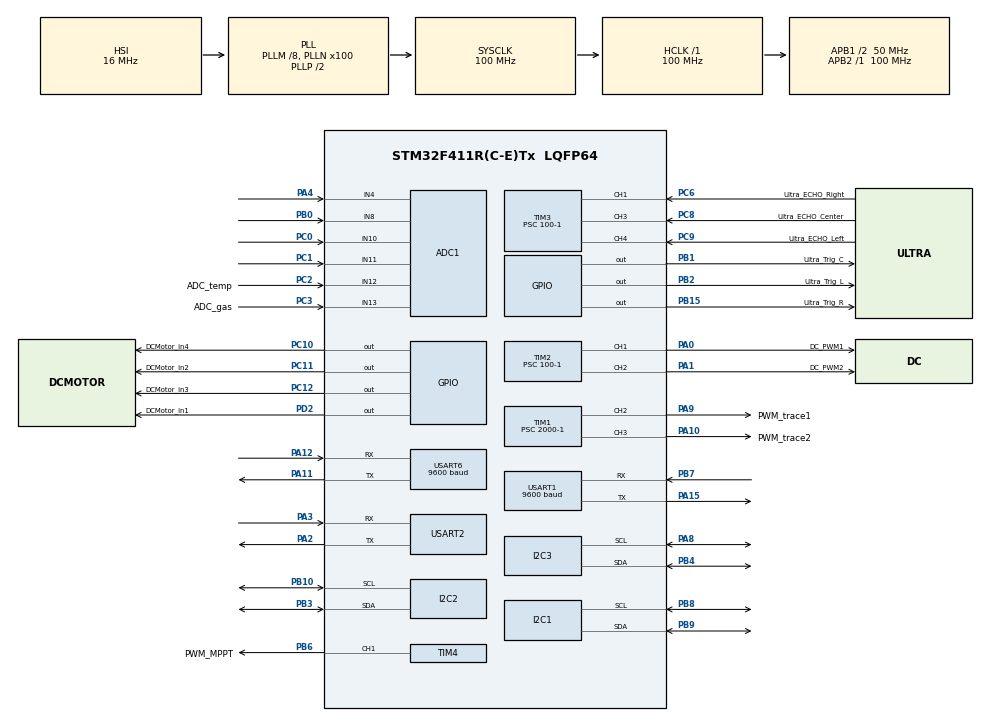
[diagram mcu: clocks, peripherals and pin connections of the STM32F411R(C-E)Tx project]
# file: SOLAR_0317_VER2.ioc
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ADC1.Channel-0\#ChannelRegularConversion=ADC_CHANNEL_12
ADC1.Channel-1\#ChannelRegularConversion=ADC_CHANNEL_13
ADC1.Channel-2\#ChannelRegularConversion=ADC_CHANNEL_4
ADC1.Channel-3\#ChannelRegularConversion=ADC_CHANNEL_8
ADC1.Channel-4\#ChannelRegularConversion=ADC_CHANNEL_11
ADC1.Channel-5\#ChannelRegularConversion=ADC_CHANNEL_10
ADC1.ContinuousConvMode=ENABLE
ADC1.DMAContinuousRequests=ENABLE
ADC1.DiscontinuousConvMode=DISABLE
ADC1.NbrOfConversion=6
ADC1.NbrOfConversionFlag=1
ADC1.Rank-0\#ChannelRegularConversion=1
ADC1.Rank-1\#ChannelRegularConversion=2
ADC1.Rank-2\#ChannelRegularConversion=3
ADC1.Rank-3\#ChannelRegularConversion=4
ADC1.Rank-4\#ChannelRegularConversion=5
ADC1.Rank-5\#ChannelRegularConversion=6
ADC1.SamplingTime-0\#ChannelRegularConversion=ADC_SAMPLETIME_144CYCLES
ADC1.SamplingTime-1\#ChannelRegularConversion=ADC_SAMPLETIME_144CYCLES
ADC1.SamplingTime-2\#ChannelRegularConversion=ADC_SAMPLETIME_144CYCLES
ADC1.SamplingTime-3\#ChannelRegularConversion=ADC_SAMPLETIME_144CYCLES
ADC1.SamplingTime-4\#ChannelRegularConversion=ADC_SAMPLETIME_144CYCLES
ADC1.SamplingTime-5\#ChannelRegularConversion=ADC_SAMPLETIME_144CYCLES
ADC1.master=1
Dma.ADC1.0.Direction=DMA_PERIPH_TO_MEMORY
Dma.ADC1.0.FIFOMode=DMA_FIFOMODE_DISABLE
Dma.ADC1.0.Instance=DMA2_Stream0
Dma.ADC1.0.MemDataAlignment=DMA_MDATAALIGN_HALFWORD
Dma.ADC1.0.MemInc=DMA_MINC_ENABLE
Dma.ADC1.0.Mode=DMA_CIRCULAR
Dma.ADC1.0.PeriphDataAlignment=DMA_PDATAALIGN_HALFWORD
Dma.ADC1.0.PeriphInc=DMA_PINC_DISABLE
Dma.ADC1.0.Priority=DMA_PRIORITY_LOW
Dma.I2C1_RX.4.Direction=DMA_PERIPH_TO_MEMORY
Dma.I2C1_RX.4.FIFOMode=DMA_FIFOMODE_DISABLE
Dma.I2C1_RX.4.Instance=DMA1_Stream0
Dma.I2C1_RX.4.MemDataAlignment=DMA_MDATAALIGN_BYTE
Dma.I2C1_RX.4.MemInc=DMA_MINC_ENABLE
Dma.I2C1_RX.4.Mode=DMA_NORMAL
Dma.I2C1_RX.4.PeriphDataAlignment=DMA_PDATAALIGN_BYTE
Dma.I2C1_RX.4.PeriphInc=DMA_PINC_DISABLE
Dma.I2C1_RX.4.Priority=DMA_PRIORITY_LOW
Dma.I2C2_RX.2.Direction=DMA_PERIPH_TO_MEMORY
Dma.I2C2_RX.2.FIFOMode=DMA_FIFOMODE_DISABLE
Dma.I2C2_RX.2.Instance=DMA1_Stream2
Dma.I2C2_RX.2.MemDataAlignment=DMA_MDATAALIGN_BYTE
Dma.I2C2_RX.2.MemInc=DMA_MINC_ENABLE
Dma.I2C2_RX.2.Mode=DMA_NORMAL
Dma.I2C2_RX.2.PeriphDataAlignment=DMA_PDATAALIGN_BYTE
Dma.I2C2_RX.2.PeriphInc=DMA_PINC_DISABLE
Dma.I2C2_RX.2.Priority=DMA_PRIORITY_LOW
Dma.I2C3_RX.3.Direction=DMA_PERIPH_TO_MEMORY
Dma.I2C3_RX.3.FIFOMode=DMA_FIFOMODE_DISABLE
Dma.I2C3_RX.3.Instance=DMA1_Stream1
Dma.I2C3_RX.3.MemDataAlignment=DMA_MDATAALIGN_BYTE
Dma.I2C3_RX.3.MemInc=DMA_MINC_ENABLE
Dma.I2C3_RX.3.Mode=DMA_NORMAL
Dma.I2C3_RX.3.PeriphDataAlignment=DMA_PDATAALIGN_BYTE
Dma.I2C3_RX.3.PeriphInc=DMA_PINC_DISABLE
Dma.I2C3_RX.3.Priority=DMA_PRIORITY_LOW
Dma.Request0=ADC1
Dma.Request1=USART6_TX
Dma.Request2=I2C2_RX
Dma.Request3=I2C3_RX
Dma.Request4=I2C1_RX
Dma.USART6_TX.1.Direction=DMA_MEMORY_TO_PERIPH
Dma.USART6_TX.1.FIFOMode=DMA_FIFOMODE_DISABLE
Dma.USART6_TX.1.Instance=DMA2_Stream6
Dma.USART6_TX.1.MemDataAlignment=DMA_MDATAALIGN_BYTE
Dma.USART6_TX.1.MemInc=DMA_MINC_ENABLE
Dma.USART6_TX.1.Mode=DMA_NORMAL
Dma.USART6_TX.1.PeriphDataAlignment=DMA_PDATAALIGN_BYTE
Dma.USART6_TX.1.PeriphInc=DMA_PINC_DISABLE
Dma.USART6_TX.1.Priority=DMA_PRIORITY_LOW
Mcu.Family=STM32F4
Mcu.Name=STM32F411R(C-E)Tx
Mcu.Package=LQFP64
NVIC.DMA1_Stream0_IRQn=true\:0\:0\:false\:false\:true\:false\:true\:true
NVIC.DMA1_Stream1_IRQn=true\:0\:0\:false\:false\:true\:false\:true\:true
NVIC.DMA1_Stream2_IRQn=true\:0\:0\:false\:false\:true\:false\:true\:true
NVIC.DMA2_Stream0_IRQn=true\:0\:0\:false\:false\:true\:false\:true\:true
NVIC.DMA2_Stream6_IRQn=true\:0\:0\:false\:false\:true\:false\:true\:true
NVIC.I2C1_ER_IRQn=true\:0\:0\:false\:false\:true\:true\:true\:true
NVIC.I2C1_EV_IRQn=true\:0\:0\:false\:false\:true\:true\:true\:true
NVIC.I2C2_ER_IRQn=true\:0\:0\:false\:false\:true\:true\:true\:true
NVIC.I2C2_EV_IRQn=true\:0\:0\:false\:false\:true\:true\:true\:true
NVIC.I2C3_ER_IRQn=true\:0\:0\:false\:false\:true\:true\:true\:true
NVIC.I2C3_EV_IRQn=true\:0\:0\:false\:false\:true\:true\:true\:true
NVIC.PriorityGroup=NVIC_PRIORITYGROUP_4
NVIC.TIM3_IRQn=true\:0\:0\:false\:false\:true\:true\:true\:true
NVIC.USART1_IRQn=true\:0\:0\:false\:false\:true\:true\:true\:true
NVIC.USART2_IRQn=true\:0\:0\:false\:false\:true\:true\:true\:true
NVIC.USART6_IRQn=true\:0\:0\:false\:false\:true\:true\:true\:true
PA0-WKUP.GPIO_Label=DC_PWM1
PA0-WKUP.Signal=S_TIM2_CH1_ETR
PA1.GPIO_Label=DC_PWM2
PA1.Signal=S_TIM2_CH2
PA10.GPIO_Label=PWM_trace2
PA10.Signal=S_TIM1_CH3
PA11.Mode=Asynchronous
PA11.Signal=USART6_TX
PA12.Mode=Asynchronous
PA12.Signal=USART6_RX
PA13.Mode=Serial_Wire
PA13.Signal=SYS_JTMS-SWDIO
PA14.Mode=Serial_Wire
PA14.Signal=SYS_JTCK-SWCLK
PA15.Mode=Asynchronous
PA15.Signal=USART1_TX
PA2.Mode=Asynchronous
PA2.Signal=USART2_TX
PA3.Mode=Asynchronous
PA3.Signal=USART2_RX
PA4.Signal=ADCx_IN4
PA8.Mode=I2C
PA8.Signal=I2C3_SCL
PA9.GPIO_Label=PWM_trace1
PA9.Signal=S_TIM1_CH2
PB0.Signal=ADCx_IN8
PB1.GPIO_Label=Ultra_Trig_C
PB1.Signal=GPIO_Output
PB10.Mode=I2C
PB10.Signal=I2C2_SCL
PB15.GPIO_Label=Ultra_Trig_R
PB15.Signal=GPIO_Output
PB2.GPIO_Label=Ultra_Trig_L
PB2.Signal=GPIO_Output
PB3.Mode=I2C
PB3.Signal=I2C2_SDA
PB4.Mode=I2C
PB4.Signal=I2C3_SDA
PB6.GPIO_Label=PWM_MPPT
PB6.Signal=S_TIM4_CH1
PB7.Mode=Asynchronous
PB7.Signal=USART1_RX
PB8.Mode=I2C
PB8.Signal=I2C1_SCL
PB9.Mode=I2C
PB9.Signal=I2C1_SDA
PC0.Signal=ADCx_IN10
PC1.Signal=ADCx_IN11
PC10.GPIO_Label=DCMotor_in4
PC10.Signal=GPIO_Output
PC11.GPIO_Label=DCMotor_in2
PC11.Signal=GPIO_Output
PC12.GPIO_Label=DCMotor_in3
PC12.Signal=GPIO_Output
PC2.GPIO_Label=ADC_temp
PC2.Signal=ADCx_IN12
PC3.GPIO_Label=ADC_gas
PC3.Signal=ADCx_IN13
PC6.GPIO_Label=Ultra_ECHO_Right
PC6.Signal=S_TIM3_CH1
PC8.GPIO_Label=Ultra_ECHO_Center
PC8.Signal=S_TIM3_CH3
PC9.GPIO_Label=Ultra_ECHO_Left
PC9.Signal=S_TIM3_CH4
PD2.GPIO_Label=DCMotor_in1
PD2.Signal=GPIO_Output
ProjectManager.HeapSize=0x200
ProjectManager.StackSize=0x400
ProjectManager.TargetToolchain=STM32CubeIDE
RCC.48MHZClocksFreq_Value=50000000
RCC.AHBFreq_Value=100000000
RCC.APB1CLKDivider=RCC_HCLK_DIV2
RCC.APB1Freq_Value=50000000
RCC.APB1TimFreq_Value=100000000
RCC.APB2Freq_Value=100000000
RCC.APB2TimFreq_Value=100000000
RCC.CortexFreq_Value=100000000
RCC.HCLKFreq_Value=100000000
RCC.HSE_VALUE=25000000
RCC.HSI_VALUE=16000000
RCC.LSE_VALUE=32768
RCC.PLLM=8
RCC.PLLN=100
RCC.SYSCLKFreq_VALUE=100000000
RCC.SYSCLKSource=RCC_SYSCLKSOURCE_PLLCLK
RCC.VCOOutputFreq_Value=200000000
SH.ADCx_IN10.0=ADC1_IN10,IN10
SH.ADCx_IN11.0=ADC1_IN11,IN11
SH.ADCx_IN12.0=ADC1_IN12,IN12
SH.ADCx_IN13.0=ADC1_IN13,IN13
SH.ADCx_IN4.0=ADC1_IN4,IN4
SH.ADCx_IN8.0=ADC1_IN8,IN8
SH.S_TIM1_CH2.0=TIM1_CH2,PWM Generation2 CH2
SH.S_TIM1_CH3.0=TIM1_CH3,PWM Generation3 CH3
SH.S_TIM2_CH1_ETR.0=TIM2_CH1,PWM Generation1 CH1
SH.S_TIM2_CH2.0=TIM2_CH2,PWM Generation2 CH2
SH.S_TIM3_CH1.0=TIM3_CH1,Input_Capture1_from_TI1
SH.S_TIM3_CH3.0=TIM3_CH3,Input_Capture3_from_TI3
SH.S_TIM3_CH4.0=TIM3_CH4,Input_Capture4_from_TI4
SH.S_TIM4_CH1.0=TIM4_CH1,PWM Generation1 CH1
TIM1.Channel-PWM\ Generation2\ CH2=TIM_CHANNEL_2
TIM1.Channel-PWM\ Generation3\ CH3=TIM_CHANNEL_3
TIM1.Period=1000-1
TIM1.Prescaler=2000-1
TIM10.Channel=TIM_CHANNEL_1
TIM10.Period=1000-1
TIM10.Prescaler=100-1
TIM11.Prescaler=100-1
TIM2.Channel-PWM\ Generation1\ CH1=TIM_CHANNEL_1
TIM2.Channel-PWM\ Generation2\ CH2=TIM_CHANNEL_2
TIM2.Period=1000-1
TIM2.Prescaler=100-1
TIM3.Channel-Input_Capture1_from_TI1=TIM_CHANNEL_1
TIM3.Channel-Input_Capture3_from_TI3=TIM_CHANNEL_3
TIM3.Channel-Input_Capture4_from_TI4=TIM_CHANNEL_4
TIM3.ICFilter_CH1=4
TIM3.ICFilter_CH3=4
TIM3.ICFilter_CH4=4
TIM3.Prescaler=100-1
TIM4.Channel-PWM\ Generation1\ CH1=TIM_CHANNEL_1
USART1.BaudRate=9600
USART1.VirtualMode=VM_ASYNC
USART2.VirtualMode=VM_ASYNC
USART6.BaudRate=9600
USART6.VirtualMode=VM_ASYNC
VP_TIM10_VS_ClockSourceINT.Mode=Enable_Timer
VP_TIM10_VS_no_output1.Mode=PWM Generation1 No Output
VP_TIM11_VS_ClockSourceINT.Mode=Enable_Timer
board=custom

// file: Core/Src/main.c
/* USER CODE BEGIN Header */
/**
  ******************************************************************************
  * @file           : main.c
  * @brief          : Main program body
  ******************************************************************************
  * @attention
  *
  * Copyright (c) 2026 STMicroelectronics.
  * All rights reserved.
  *
  * This software is licensed under terms that can be found in the LICENSE file
  * in the root directory of this software component.
  * If no LICENSE file comes with this software, it is provided AS-IS.
  *
  ******************************************************************************
  */
/* USER CODE END Header */
#include "main.h"
#include "adc.h"
#include "dma.h"
#include "i2c.h"
#include "tim.h"
#include "usart.h"
#include "gpio.h"

/* USER CODE BEGIN Includes */

#include "statemachine.h"
#include "bms_message.h"

/* USER CODE END Includes */

/* USER CODE BEGIN PM */

#ifdef __GNUC__
/* With GCC small printf (option LD Linker->Libraries->Small printf
 * set to 'Yes') calls __io_putchar() */
#define PUTCHAR_PROTOTYPE int  __io_putchar(int ch)
#else
#define PUTCHAR_PROTOTYPE int  fputc(int ch, FILE *f)
#endif /* __GNUC__*/

/** @brief Retargets the C library printf function to the USART.
 *  @param None
 *  @retval None
 */
PUTCHAR_PROTOTYPE
{
  /* Place your implementation of fputc here */
  /* e.g. write a character to the USART2 and Loop
     until the end of transmission */
  if(ch == '\n')
  {
	  HAL_UART_Transmit(&huart2, (uint8_t*) "\r", 1, 0xFFFF);
  }
   HAL_UART_Transmit(&huart2, (uint8_t*) &ch, 1, 0xFFFF);\
   return ch;
}

/* USER CODE END PM */

/* USER CODE BEGIN PV */

//
//volatile uint8_t rxData[1];
//volatile uint8_t rxFlag = 0;
//volatile uint8_t rxCmd = 0;
volatile float v_bus = 0.0f;
volatile float i_ma = 0.0f;
volatile float spd_100_v[20] = {0.0f};
volatile float spd_100_i[20] = {0.0f};
volatile float spd_60_v[30] = {0.0f};
volatile float spd_60_i[30] = {0.0f};

/* USER CODE END PV */

void SystemClock_Config(void);

int main(void)
{

  /* MCU Configuration--------------------------------------------------------*/

  /* Reset of all peripherals, Initializes the Flash interface and the Systick. */
  HAL_Init();

  /* Configure the system clock */
  SystemClock_Config();

  /* Initialize all configured peripherals */
  MX_GPIO_Init();
  MX_DMA_Init();
  MX_USART1_UART_Init();
  MX_TIM2_Init();
  MX_TIM3_Init();
  MX_TIM11_Init();
  MX_USART2_UART_Init();
  MX_ADC1_Init();
  MX_I2C1_Init();
  MX_I2C2_Init();
  MX_I2C3_Init();
  MX_TIM1_Init();
  MX_TIM4_Init();
  MX_USART6_UART_Init();
  MX_TIM10_Init();
  /* USER CODE BEGIN 2 */

  STMACHINE_Init();

  HAL_TIM_Base_Start(&htim11);                  // for delay_us function

  /* USER CODE END 2 */

  /* Infinite loop */
  /* USER CODE BEGIN WHILE */
  while (1)
  {

  	ST_MACHINE();
  	SHOW_UART2_ULTRASONIC();
//  	SHOW_UART2_SPEED();
//  	SHOW_UART2_BMS();
  	SHOW_UART6_BMS();
//  	SHOW_UART2_TRACE();

    /* USER CODE END WHILE */

  }
}

void SystemClock_Config(void)
{
  RCC_OscInitTypeDef RCC_OscInitStruct = {0};
  RCC_ClkInitTypeDef RCC_ClkInitStruct = {0};

  /** Configure the main internal regulator output voltage
  */
  __HAL_RCC_PWR_CLK_ENABLE();
  __HAL_PWR_VOLTAGESCALING_CONFIG(PWR_REGULATOR_VOLTAGE_SCALE1);

  /** Initializes the RCC Oscillators according to the specified parameters
  * in the RCC_OscInitTypeDef structure.
  */
  RCC_OscInitStruct.OscillatorType = RCC_OSCILLATORTYPE_HSI;
  RCC_OscInitStruct.HSIState = RCC_HSI_ON;
  RCC_OscInitStruct.HSICalibrationValue = RCC_HSICALIBRATION_DEFAULT;
  RCC_OscInitStruct.PLL.PLLState = RCC_PLL_ON;
  RCC_OscInitStruct.PLL.PLLSource = RCC_PLLSOURCE_HSI;
  RCC_OscInitStruct.PLL.PLLM = 8;
  RCC_OscInitStruct.PLL.PLLN = 100;
  RCC_OscInitStruct.PLL.PLLP = RCC_PLLP_DIV2;
  RCC_OscInitStruct.PLL.PLLQ = 4;
  if (HAL_RCC_OscConfig(&RCC_OscInitStruct) != HAL_OK)
  {
    Error_Handler();
  }

  /** Initializes the CPU, AHB and APB buses clocks
  */
  RCC_ClkInitStruct.ClockType = RCC_CLOCKTYPE_HCLK|RCC_CLOCKTYPE_SYSCLK
                              |RCC_CLOCKTYPE_PCLK1|RCC_CLOCKTYPE_PCLK2;
  RCC_ClkInitStruct.SYSCLKSource = RCC_SYSCLKSOURCE_PLLCLK;
  RCC_ClkInitStruct.AHBCLKDivider = RCC_SYSCLK_DIV1;
  RCC_ClkInitStruct.APB1CLKDivider = RCC_HCLK_DIV2;
  RCC_ClkInitStruct.APB2CLKDivider = RCC_HCLK_DIV1;

  if (HAL_RCC_ClockConfig(&RCC_ClkInitStruct, FLASH_LATENCY_3) != HAL_OK)
  {
    Error_Handler();
  }
}

void Error_Handler(void)
{
  __disable_irq();
  while (1)
  {
  }
}
